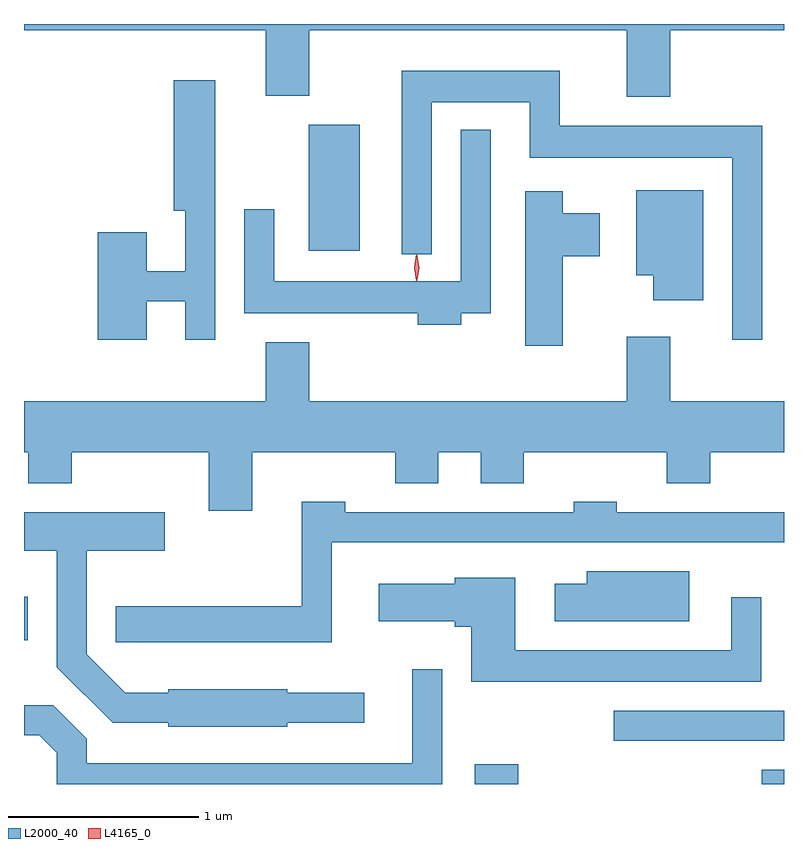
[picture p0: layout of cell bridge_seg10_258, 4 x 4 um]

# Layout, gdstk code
import gdstk
lib = gdstk.Library(unit=1e-6, precision=1e-09)
def R(c, l, rs):  # rectangles x0, y0, x1, y1
    for r in rs: c.add(gdstk.rectangle(r[:2], r[2:], *l))
def P(c, l, *ps):  # polygons
    for p in ps: c.add(gdstk.Polygon(p, *l))
L2000_40 = (2000, 40)
L4165_0 = (4165, 0)

bridge_seg10_258 = lib.new_cell('bridge_seg10_258')
R(bridge_seg10_258, L2000_40, [(1806.401,2096.629,1806.629,2096.734), (1807.911,2096.629,1808.028,2096.704), (1807.133,2096.856,1808.028,2097.014), (1804.028,2097.386,1804.049,2097.614), (1805.526,2099.436,1805.794,2100.099)])
P(bridge_seg10_258, L2000_40, [(1807.429,2100.596),(1808.028,2100.596),(1808.028,2100.629),(1804.028,2100.629),(1804.028,2100.596),(1805.301,2100.596),(1805.301,2100.251),(1805.529,2100.251),(1805.529,2100.596),(1807.201,2100.596),(1807.201,2100.246),(1807.429,2100.246)],
  [(1807.914,2100.094),(1806.849,2100.094),(1806.849,2100.384),(1806.016,2100.384),(1806.016,2099.418),(1806.174,2099.418),(1806.174,2100.216),(1806.691,2100.216),(1806.691,2099.926),(1807.756,2099.926),(1807.756,2098.968),(1807.914,2098.968)],
  [(1804.674,2099.171),(1804.876,2099.171),(1804.876,2098.968),(1805.034,2098.968),(1805.034,2100.334),(1804.816,2100.334),(1804.816,2099.646),(1804.876,2099.646),(1804.876,2099.329),(1804.674,2099.329),(1804.674,2099.534),(1804.416,2099.534),(1804.416,2098.966),(1804.674,2098.966)],
  [(1806.329,2099.106),(1806.484,2099.106),(1806.484,2100.073),(1806.326,2100.073),(1806.326,2099.274),(1805.344,2099.274),(1805.344,2099.653),(1805.186,2099.653),(1805.186,2099.106),(1806.101,2099.106),(1806.101,2099.046),(1806.329,2099.046)],
  [(1807.604,2099.754),(1807.251,2099.754),(1807.251,2099.306),(1807.341,2099.306),(1807.341,2099.176),(1807.604,2099.176)],
  [(1806.864,2099.406),(1807.059,2099.406),(1807.059,2099.634),(1806.864,2099.634),(1806.864,2099.749),(1806.666,2099.749),(1806.666,2098.936),(1806.864,2098.936)],
  [(1805.229,2098.376),(1805.981,2098.376),(1805.981,2098.211),(1806.209,2098.211),(1806.209,2098.376),(1806.431,2098.376),(1806.431,2098.211),(1806.659,2098.211),(1806.659,2098.376),(1807.411,2098.376),(1807.411,2098.211),(1807.639,2098.211),(1807.639,2098.376),(1808.028,2098.376),(1808.028,2098.644),(1807.429,2098.644),(1807.429,2098.984),(1807.201,2098.984),(1807.201,2098.644),(1805.529,2098.644),(1805.529,2098.954),(1805.301,2098.954),(1805.301,2098.644),(1804.028,2098.644),(1804.028,2098.376),(1804.051,2098.376),(1804.051,2098.211),(1804.279,2098.211),(1804.279,2098.376),(1805.001,2098.376),(1805.001,2098.066),(1805.229,2098.066)],
  [(1805.649,2097.901),(1808.028,2097.901),(1808.028,2098.059),(1807.149,2098.059),(1807.149,2098.114),(1806.921,2098.114),(1806.921,2098.059),(1805.719,2098.059),(1805.719,2098.114),(1805.491,2098.114),(1805.491,2097.564),(1804.511,2097.564),(1804.511,2097.376),(1805.649,2097.376)],
  [(1805.414,2096.951),(1805.818,2096.951),(1805.818,2097.109),(1805.414,2097.109),(1805.414,2097.129),(1804.786,2097.129),(1804.786,2097.109),(1804.562,2097.109),(1804.359,2097.312),(1804.359,2097.856),(1804.769,2097.856),(1804.769,2098.059),(1804.028,2098.059),(1804.028,2097.856),(1804.201,2097.856),(1804.201,2097.244),(1804.494,2096.951),(1804.786,2096.951),(1804.786,2096.931),(1805.414,2096.931)],
  [(1807.529,2097.749),(1806.991,2097.749),(1806.991,2097.684),(1806.821,2097.684),(1806.821,2097.486),(1807.529,2097.486)],
  [(1807.909,2097.613),(1807.751,2097.613),(1807.751,2097.334),(1806.614,2097.334),(1806.614,2097.714),(1806.296,2097.714),(1806.296,2097.684),(1805.896,2097.684),(1805.896,2097.486),(1806.296,2097.486),(1806.296,2097.456),(1806.381,2097.456),(1806.381,2097.166),(1807.909,2097.166)],
  [(1806.229,2097.233),(1806.071,2097.233),(1806.071,2096.739),(1804.359,2096.739),(1804.359,2096.867),(1804.182,2097.044),(1804.028,2097.044),(1804.028,2096.886),(1804.109,2096.886),(1804.201,2096.794),(1804.201,2096.629),(1806.229,2096.629)])
P(bridge_seg10_258, L4165_0, [(1806.097,2099.279),(1806.096,2099.28),(1806.087,2099.346),(1806.096,2099.412),(1806.097,2099.413),(1806.097,2099.412),(1806.107,2099.346),(1806.097,2099.28)],
  [(1806.092,2099.277),(1806.092,2099.278),(1806.082,2099.347),(1806.092,2099.416),(1806.092,2099.416),(1806.093,2099.416),(1806.102,2099.347),(1806.093,2099.278)])

lib.write_gds('bridge_seg10_258.gds')
